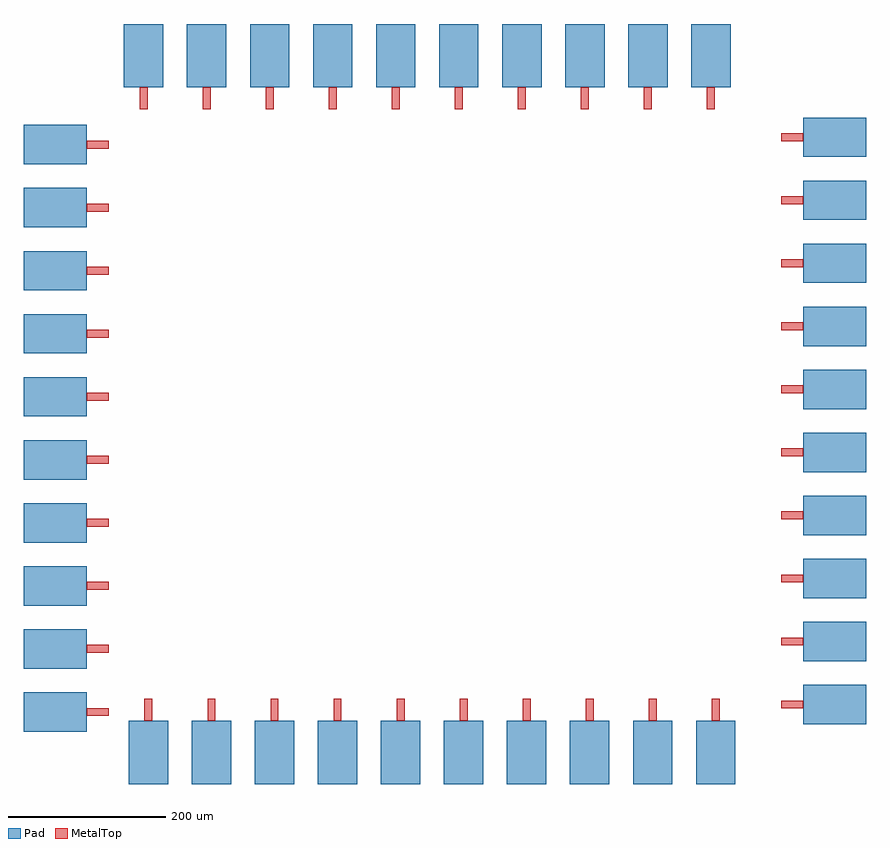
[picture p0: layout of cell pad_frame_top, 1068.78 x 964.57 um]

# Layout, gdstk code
from math import pi, radians
import gdstk
lib = gdstk.Library(unit=1e-6, precision=1e-09)
def R(c, l, rs):  # rectangles x0, y0, x1, y1
    for r in rs: c.add(gdstk.rectangle(r[:2], r[2:], *l))
Pad = (37, 0)
MetalTop = (53, 0)

pad_analog_io = lib.new_cell('pad_analog_io')
R(pad_analog_io, Pad, [(-25,0,25,80)])
R(pad_analog_io, MetalTop, [(-5,-27.93,5,0)])

pad_frame_top = lib.new_cell('pad_frame_top')
r = gdstk.Reference(pad_analog_io, (683.325,197.1), rotation=3*pi/2); r.repetition = gdstk.Repetition(10, 1, v1=(0,-80), v2=(0,0)); pad_frame_top.add(r)
r = gdstk.Reference(pad_analog_io, (572.54,-543.775), rotation=pi); r.repetition = gdstk.Repetition(10, 1, v1=(-80,0), v2=(0,0)); pad_frame_top.add(r)
r = gdstk.Reference(pad_analog_io, (-153.55,260.79)); r.repetition = gdstk.Repetition(10, 1, v1=(80,0), v2=(0,0)); pad_frame_top.add(r)
r = gdstk.Reference(pad_analog_io, (-225.455,-532.32), rotation=pi/2); r.repetition = gdstk.Repetition(10, 1, v1=(0,80), v2=(0,0)); pad_frame_top.add(r)

lib.write_gds('pad_frame_top.gds')
